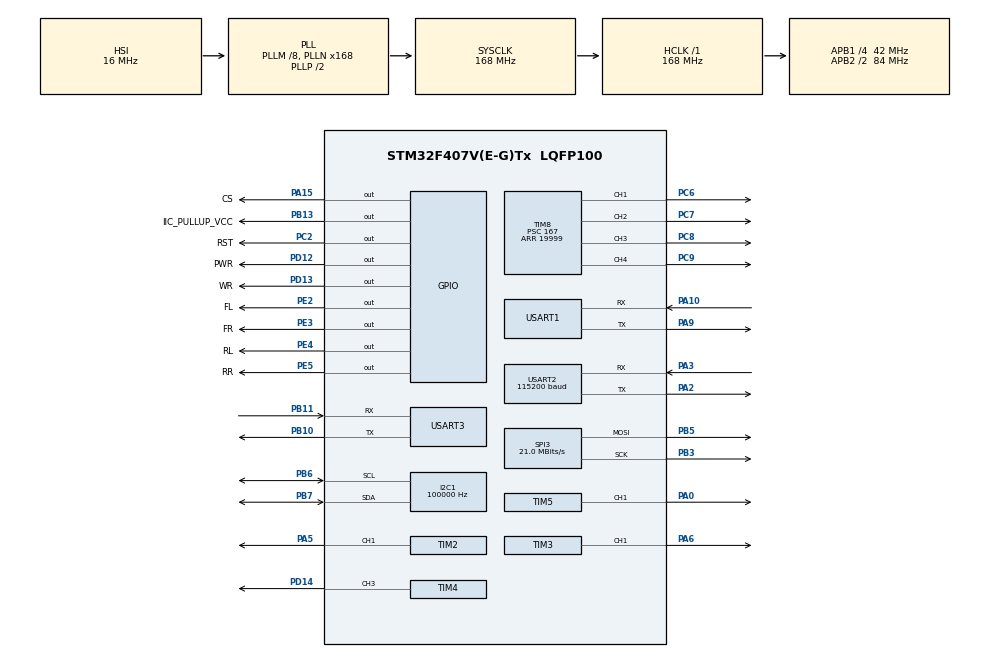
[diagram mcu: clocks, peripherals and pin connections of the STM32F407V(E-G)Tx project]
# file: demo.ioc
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Dma.Request0=USART1_RX
Dma.Request1=USART1_TX
Dma.USART1_RX.0.Direction=DMA_PERIPH_TO_MEMORY
Dma.USART1_RX.0.FIFOMode=DMA_FIFOMODE_DISABLE
Dma.USART1_RX.0.Instance=DMA2_Stream2
Dma.USART1_RX.0.MemDataAlignment=DMA_MDATAALIGN_BYTE
Dma.USART1_RX.0.MemInc=DMA_MINC_ENABLE
Dma.USART1_RX.0.Mode=DMA_CIRCULAR
Dma.USART1_RX.0.PeriphDataAlignment=DMA_PDATAALIGN_BYTE
Dma.USART1_RX.0.PeriphInc=DMA_PINC_DISABLE
Dma.USART1_RX.0.Priority=DMA_PRIORITY_LOW
Dma.USART1_TX.1.Direction=DMA_MEMORY_TO_PERIPH
Dma.USART1_TX.1.FIFOMode=DMA_FIFOMODE_DISABLE
Dma.USART1_TX.1.Instance=DMA2_Stream7
Dma.USART1_TX.1.MemDataAlignment=DMA_MDATAALIGN_BYTE
Dma.USART1_TX.1.MemInc=DMA_MINC_ENABLE
Dma.USART1_TX.1.Mode=DMA_CIRCULAR
Dma.USART1_TX.1.PeriphDataAlignment=DMA_PDATAALIGN_BYTE
Dma.USART1_TX.1.PeriphInc=DMA_PINC_DISABLE
Dma.USART1_TX.1.Priority=DMA_PRIORITY_LOW
I2C1.ClockSpeed=100000
I2C1.I2C_Mode=I2C_Fast
Mcu.Family=STM32F4
Mcu.Name=STM32F407V(E-G)Tx
Mcu.Package=LQFP100
NVIC.DMA2_Stream2_IRQn=true\:1\:0\:true\:false\:true\:false\:true\:true
NVIC.DMA2_Stream7_IRQn=true\:2\:0\:true\:false\:true\:false\:true\:true
NVIC.I2C1_EV_IRQn=true\:3\:0\:true\:false\:true\:true\:true\:true
NVIC.PriorityGroup=NVIC_PRIORITYGROUP_4
NVIC.USART1_IRQn=true\:2\:0\:true\:false\:true\:false\:true\:true
NVIC.USART2_IRQn=true\:4\:0\:true\:false\:true\:true\:true\:true
PA0-WKUP.Signal=S_TIM5_CH1
PA10.Mode=Asynchronous
PA10.Signal=USART1_RX
PA13.Mode=Serial_Wire
PA13.Signal=SYS_JTMS-SWDIO
PA14.Mode=Serial_Wire
PA14.Signal=SYS_JTCK-SWCLK
PA15.GPIO_Label=CS
PA15.GPIO_Speed=GPIO_SPEED_FREQ_HIGH
PA15.Signal=GPIO_Output
PA2.Mode=Asynchronous
PA2.Signal=USART2_TX
PA3.Mode=Asynchronous
PA3.Signal=USART2_RX
PA5.Signal=S_TIM2_CH1_ETR
PA6.Signal=S_TIM3_CH1
PA9.Mode=Asynchronous
PA9.Signal=USART1_TX
PB10.Mode=Asynchronous
PB10.Signal=USART3_TX
PB11.Mode=Asynchronous
PB11.Signal=USART3_RX
PB13.GPIO_Label=IIC_PULLUP_VCC
PB13.PinState=GPIO_PIN_SET
PB13.Signal=GPIO_Output
PB3.Mode=TX_Only_Simplex_Unidirect_Master
PB3.Signal=SPI3_SCK
PB5.Mode=TX_Only_Simplex_Unidirect_Master
PB5.Signal=SPI3_MOSI
PB6.Mode=I2C
PB6.Signal=I2C1_SCL
PB7.Mode=I2C
PB7.Signal=I2C1_SDA
PC2.GPIO_Label=RST
PC2.GPIO_Speed=GPIO_SPEED_FREQ_HIGH
PC2.Signal=GPIO_Output
PC6.Signal=S_TIM8_CH1
PC7.Signal=S_TIM8_CH2
PC8.Signal=S_TIM8_CH3
PC9.Signal=S_TIM8_CH4
PD12.GPIO_Label=PWR
PD12.GPIO_Speed=GPIO_SPEED_FREQ_HIGH
PD12.Signal=GPIO_Output
PD13.GPIO_Label=WR
PD13.GPIO_Speed=GPIO_SPEED_FREQ_HIGH
PD13.Signal=GPIO_Output
PD14.Signal=S_TIM4_CH3
PE2.GPIO_Label=FL
PE2.Signal=GPIO_Output
PE3.GPIO_Label=FR
PE3.Signal=GPIO_Output
PE4.GPIO_Label=RL
PE4.Signal=GPIO_Output
PE5.GPIO_Label=RR
PE5.Signal=GPIO_Output
PH0-OSC_IN.Mode=HSE-External-Clock-Source
PH0-OSC_IN.Signal=RCC_OSC_IN
PH1-OSC_OUT.Mode=HSE-External-Clock-Source
PH1-OSC_OUT.Signal=RCC_OSC_OUT
ProjectManager.HeapSize=0x200
ProjectManager.StackSize=0x400
ProjectManager.TargetToolchain=CMake
RCC.48MHZClocksFreq_Value=84000000
RCC.AHBFreq_Value=168000000
RCC.APB1CLKDivider=RCC_HCLK_DIV4
RCC.APB1Freq_Value=42000000
RCC.APB1TimFreq_Value=84000000
RCC.APB2CLKDivider=RCC_HCLK_DIV2
RCC.APB2Freq_Value=84000000
RCC.APB2TimFreq_Value=168000000
RCC.CortexFreq_Value=168000000
RCC.HCLKFreq_Value=168000000
RCC.HSE_VALUE=25000000
RCC.HSI_VALUE=16000000
RCC.LSE_VALUE=32768
RCC.PLLM=8
RCC.PLLN=168
RCC.SYSCLKFreq_VALUE=168000000
RCC.SYSCLKSource=RCC_SYSCLKSOURCE_PLLCLK
RCC.VCOOutputFreq_Value=336000000
SH.S_TIM2_CH1_ETR.0=TIM2_CH1,PWM Generation1 CH1
SH.S_TIM3_CH1.0=TIM3_CH1,PWM Generation1 CH1
SH.S_TIM4_CH3.0=TIM4_CH3,PWM Generation3 CH3
SH.S_TIM5_CH1.0=TIM5_CH1,PWM Generation1 CH1
SH.S_TIM8_CH1.0=TIM8_CH1,PWM Generation1 CH1
SH.S_TIM8_CH2.0=TIM8_CH2,PWM Generation2 CH2
SH.S_TIM8_CH3.0=TIM8_CH3,PWM Generation3 CH3
SH.S_TIM8_CH4.0=TIM8_CH4,PWM Generation4 CH4
SPI3.CLKPhase=SPI_PHASE_2EDGE
SPI3.CLKPolarity=SPI_POLARITY_HIGH
SPI3.CalculateBaudRate=21.0 MBits/s
SPI3.Direction=SPI_DIRECTION_2LINES
SPI3.Mode=SPI_MODE_MASTER
SPI3.VirtualType=VM_MASTER
TIM2.AutoReloadPreload=TIM_AUTORELOAD_PRELOAD_ENABLE
TIM2.Channel-PWM\ Generation1\ CH1=TIM_CHANNEL_1
TIM2.Period=999
TIM2.Prescaler=83
TIM2.Pulse-PWM\ Generation1\ CH1=500
TIM3.AutoReloadPreload=TIM_AUTORELOAD_PRELOAD_ENABLE
TIM3.Channel-PWM\ Generation1\ CH1=TIM_CHANNEL_1
TIM3.Period=999
TIM3.Prescaler=83
TIM3.Pulse-PWM\ Generation1\ CH1=500
TIM4.AutoReloadPreload=TIM_AUTORELOAD_PRELOAD_ENABLE
TIM4.Channel-PWM\ Generation3\ CH3=TIM_CHANNEL_3
TIM4.Period=999
TIM4.Prescaler=83
TIM4.Pulse-PWM\ Generation3\ CH3=500
TIM5.AutoReloadPreload=TIM_AUTORELOAD_PRELOAD_ENABLE
TIM5.Channel-PWM\ Generation1\ CH1=TIM_CHANNEL_1
TIM5.Period=999
TIM5.Prescaler=83
TIM5.Pulse-PWM\ Generation1\ CH1=500
TIM8.AutoReloadPreload=TIM_AUTORELOAD_PRELOAD_ENABLE
TIM8.Channel-PWM\ Generation1\ CH1=TIM_CHANNEL_1
TIM8.Channel-PWM\ Generation2\ CH2=TIM_CHANNEL_2
TIM8.Channel-PWM\ Generation3\ CH3=TIM_CHANNEL_3
TIM8.Channel-PWM\ Generation4\ CH4=TIM_CHANNEL_4
TIM8.Period=19999
TIM8.Prescaler=167
TIM8.Pulse-PWM\ Generation1\ CH1=1500
TIM8.Pulse-PWM\ Generation2\ CH2=1500
TIM8.Pulse-PWM\ Generation3\ CH3=1500
TIM8.Pulse-PWM\ Generation4\ CH4=1500
USART1.VirtualMode=VM_ASYNC
USART2.BaudRate=115200
USART2.VirtualMode=VM_ASYNC
USART3.VirtualMode=VM_ASYNC
VP_TIM2_VS_ClockSourceINT.Mode=Internal
VP_TIM3_VS_ClockSourceINT.Mode=Internal
VP_TIM4_VS_ClockSourceINT.Mode=Internal
VP_TIM5_VS_ClockSourceINT.Mode=Internal
board=custom

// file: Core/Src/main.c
/* USER CODE BEGIN Header */
/**
  ******************************************************************************
  * @file           : main.c
  * @brief          : Main program body
  ******************************************************************************
  * @attention
  *
  * Copyright (c) 2026 STMicroelectronics.
  * All rights reserved.
  *
  * This software is licensed under terms that can be found in the LICENSE file
  * in the root directory of this software component.
  * If no LICENSE file comes with this software, it is provided AS-IS.
  *
  ******************************************************************************
  */
/* USER CODE END Header */
#include "main.h"
#include "dma.h"
#include "i2c.h"
#include "spi.h"
#include "tim.h"
#include "usart.h"
#include "gpio.h"

/* USER CODE BEGIN Includes */
#include "atk_md0240.h"
#include "atk_md0240_font.h"
#include "atk_md0240_spi.h"
#include "gyroscope.h"
#include "motor.h"
#include "robot_servo.h"
#include <stdio.h>
#include <string.h>
/* USER CODE END Includes */

void SystemClock_Config(void);

int main(void)
{

  /* MCU Configuration--------------------------------------------------------*/

  /* Reset of all peripherals, Initializes the Flash interface and the Systick. */
  HAL_Init();

  /* Configure the system clock */
  SystemClock_Config();

  /* Initialize all configured peripherals */
  MX_GPIO_Init();
  MX_DMA_Init();
  MX_TIM2_Init();
  MX_TIM3_Init();
  MX_TIM4_Init();
  MX_TIM5_Init();
  MX_USART1_UART_Init();
  MX_I2C1_Init();
  MX_USART2_UART_Init();
  MX_USART3_UART_Init();
  MX_SPI3_Init();
  MX_TIM8_Init();
  /* USER CODE BEGIN 2 */
  Motor_Init();
  atk_md0240_init();
  atk_md0240_clear(ATK_MD0240_WHITE);
  atk_md0240_show_string(10, 10, "JY901P Gyro Test", ATK_MD0240_LCD_FONT_24, ATK_MD0240_RED);

  HAL_Delay(1000);
  float yaw_offset = 0.0f;
  for(int i = 0; i < 5; i++)
  {
      yaw_offset = JY901P_Read_Yaw();
      HAL_Delay(20);
  }

  char last_yaw_str[30] = "";
  char last_wz_str[30] = "";
  char cur_yaw_str[30] = "";
  char cur_wz_str[30] = "";

  float current_yaw = 0.0f;
  float current_wz = 0.0f;
  float display_yaw = 0.0f;

  uint32_t motor_last_tick = HAL_GetTick();    // 记录开机时间戳
  Motor_Dir_t current_motor_dir = DIR_FORWARD; // 初始方向
  Motor_Test_All(current_motor_dir);      // 开启电机初始正转状态

  uint32_t arm_last_tick = HAL_GetTick();
  uint8_t arm_state = 0;
  Robot_Arm_Fold();
  /* USER CODE END 2 */

  /* Infinite loop */
  /* USER CODE BEGIN WHILE */
  while (1)
  {
    current_yaw = JY901P_Read_Yaw();
    current_wz = JY901P_Read_WZ();
    display_yaw = current_yaw - yaw_offset;

    if (display_yaw > 180.0f) {
        display_yaw -= 360.0f;
    } else if (display_yaw < -180.0f) {
        display_yaw += 360.0f;
    }
    sprintf(cur_yaw_str, "Yaw: %6.2f deg", display_yaw);
    sprintf(cur_wz_str, "Wz : %6.2f d/s", current_wz);

    if (strcmp(last_yaw_str, cur_yaw_str) != 0)
    {
        atk_md0240_show_string(10, 50, last_yaw_str, ATK_MD0240_LCD_FONT_24, ATK_MD0240_WHITE);
        atk_md0240_show_string(10, 50, cur_yaw_str, ATK_MD0240_LCD_FONT_24, ATK_MD0240_BLUE);
        strcpy(last_yaw_str, cur_yaw_str);
    }

    // 【Wz 角速度刷新】
    if (strcmp(last_wz_str, cur_wz_str) != 0)
    {
        atk_md0240_show_string(10, 80, last_wz_str, ATK_MD0240_LCD_FONT_24, ATK_MD0240_WHITE);
        atk_md0240_show_string(10, 80, cur_wz_str, ATK_MD0240_LCD_FONT_24, ATK_MD0240_BROWN);
        strcpy(last_wz_str, cur_wz_str);
    }

    if (HAL_GetTick() - motor_last_tick >= 2000)
    {
      // 超过 2 秒了，反转方向状态
      if (current_motor_dir == DIR_FORWARD) {
          current_motor_dir = DIR_REVERSE;
      } else {
          current_motor_dir = DIR_FORWARD;
      }

      // 将新的方向下发给所有电机引脚
      Motor_Test_All(current_motor_dir);

      // 【关键】更新时间戳，重新开始新一轮的 2 秒倒计时
      motor_last_tick = HAL_GetTick();
    }

    if (HAL_GetTick() - arm_last_tick >= 4000)
    {
      arm_last_tick = HAL_GetTick(); // 重新按秒表

      arm_state++;
      if (arm_state > 4) arm_state = 0; // 在 0~3 之间循环

      switch (arm_state)
      {
          case 0: Robot_Arm_Fold();   break; // 折叠
          case 1: Robot_Arm_Expand(); break; // 伸出
          case 2: Robot_Arm_Grab();   break; // 抓取
          case 3: Robot_Arm_Lift();   break; // 抬起
          case 4: Robot_Arm_Vertical_Test(); break; // 垂直
      }
    }

    HAL_Delay(30);
    /* USER CODE END WHILE */

  }
}

void SystemClock_Config(void)
{
  RCC_OscInitTypeDef RCC_OscInitStruct = {0};
  RCC_ClkInitTypeDef RCC_ClkInitStruct = {0};

  /** Configure the main internal regulator output voltage
  */
  __HAL_RCC_PWR_CLK_ENABLE();
  __HAL_PWR_VOLTAGESCALING_CONFIG(PWR_REGULATOR_VOLTAGE_SCALE1);

  /** Initializes the RCC Oscillators according to the specified parameters
  * in the RCC_OscInitTypeDef structure.
  */
  RCC_OscInitStruct.OscillatorType = RCC_OSCILLATORTYPE_HSI;
  RCC_OscInitStruct.HSIState = RCC_HSI_ON;
  RCC_OscInitStruct.HSICalibrationValue = RCC_HSICALIBRATION_DEFAULT;
  RCC_OscInitStruct.PLL.PLLState = RCC_PLL_ON;
  RCC_OscInitStruct.PLL.PLLSource = RCC_PLLSOURCE_HSI;
  RCC_OscInitStruct.PLL.PLLM = 8;
  RCC_OscInitStruct.PLL.PLLN = 168;
  RCC_OscInitStruct.PLL.PLLP = RCC_PLLP_DIV2;
  RCC_OscInitStruct.PLL.PLLQ = 4;
  if (HAL_RCC_OscConfig(&RCC_OscInitStruct) != HAL_OK)
  {
    Error_Handler();
  }

  /** Initializes the CPU, AHB and APB buses clocks
  */
  RCC_ClkInitStruct.ClockType = RCC_CLOCKTYPE_HCLK|RCC_CLOCKTYPE_SYSCLK
                              |RCC_CLOCKTYPE_PCLK1|RCC_CLOCKTYPE_PCLK2;
  RCC_ClkInitStruct.SYSCLKSource = RCC_SYSCLKSOURCE_PLLCLK;
  RCC_ClkInitStruct.AHBCLKDivider = RCC_SYSCLK_DIV1;
  RCC_ClkInitStruct.APB1CLKDivider = RCC_HCLK_DIV4;
  RCC_ClkInitStruct.APB2CLKDivider = RCC_HCLK_DIV2;

  if (HAL_RCC_ClockConfig(&RCC_ClkInitStruct, FLASH_LATENCY_5) != HAL_OK)
  {
    Error_Handler();
  }
}

void Error_Handler(void)
{
  __disable_irq();
  while (1)
  {
  }
}
